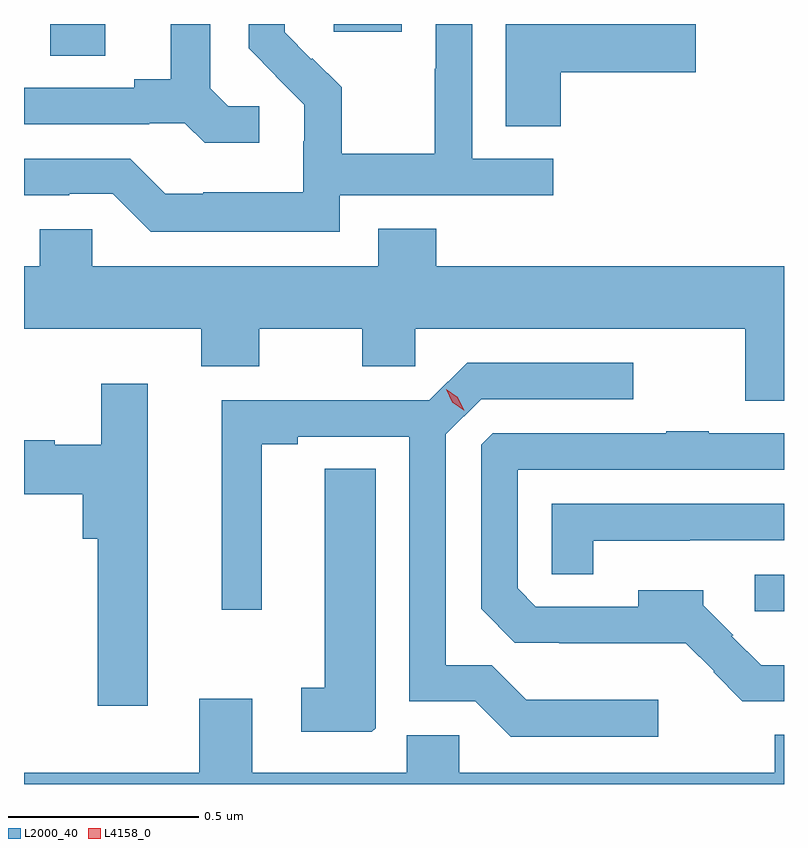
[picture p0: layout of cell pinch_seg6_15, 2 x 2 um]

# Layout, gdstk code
import gdstk
lib = gdstk.Library(unit=1e-6, precision=1e-09)
def R(c, l, rs):  # rectangles x0, y0, x1, y1
    for r in rs: c.add(gdstk.rectangle(r[:2], r[2:], *l))
def P(c, l, *ps):  # polygons
    for p in ps: c.add(gdstk.Polygon(p, *l))
L2000_40 = (2000, 40)
L4158_0 = (4158, 0)

pinch_seg6_15 = lib.new_cell('pinch_seg6_15')
R(pinch_seg6_15, L2000_40, [(916.146,993.213,916.223,993.309), (914.292,994.675,914.437,994.758), (915.038,994.737,915.217,994.758)])
P(pinch_seg6_15, L2000_40, [(915.635,994.631),(915.991,994.631),(915.991,994.758),(915.491,994.758),(915.491,994.489),(915.635,994.489)],
  [(914.842,994.542),(914.76,994.542),(914.713,994.589),(914.713,994.758),(914.609,994.758),(914.609,994.613),(914.513,994.613),(914.513,994.59),(914.223,994.59),(914.223,994.494),(914.552,994.494),(914.552,994.497),(914.646,994.497),(914.698,994.445),(914.842,994.445)],
  [(915.054,994.308),(915.616,994.308),(915.616,994.404),(915.402,994.404),(915.402,994.758),(915.306,994.758),(915.306,994.64),(915.304,994.64),(915.304,994.417),(915.059,994.417),(915.059,994.591),(914.982,994.668),(914.979,994.665),(914.909,994.736),(914.909,994.758),(914.814,994.758),(914.814,994.694),(914.887,994.621),(914.886,994.62),(914.96,994.546),(914.96,994.449),(914.958,994.449),(914.958,994.315),(914.695,994.315),(914.695,994.311),(914.595,994.311),(914.502,994.404),(914.223,994.404),(914.223,994.308),(914.342,994.308),(914.342,994.311),(914.457,994.311),(914.557,994.211),(915.054,994.211)],
  [(916.223,994.12),(915.308,994.12),(915.308,994.219),(915.155,994.219),(915.155,994.12),(914.403,994.12),(914.403,994.218),(914.265,994.218),(914.265,994.12),(914.223,994.12),(914.223,993.956),(914.69,993.956),(914.69,993.857),(914.842,993.857),(914.842,993.956),(915.113,993.956),(915.113,993.858),(915.252,993.858),(915.252,993.956),(916.121,993.956),(916.121,993.766),(916.223,993.766)],
  [(915.892,992.98),(915.545,992.98),(915.454,993.071),(915.333,993.071),(915.333,993.678),(915.426,993.771),(915.826,993.771),(915.826,993.867),(915.389,993.867),(915.29,993.768),(914.744,993.768),(914.744,993.216),(914.848,993.216),(914.848,993.652),(914.944,993.652),(914.944,993.672),(915.237,993.672),(915.237,992.976),(915.411,992.976),(915.504,992.883),(915.892,992.883)],
  [(914.548,993.811),(914.426,993.811),(914.426,993.651),(914.304,993.651),(914.304,993.663),(914.223,993.663),(914.223,993.521),(914.378,993.521),(914.378,993.404),(914.417,993.404),(914.417,992.964),(914.548,992.964)],
  [(916.223,993.071),(916.163,993.071),(916.086,993.147),(916.089,993.15),(916.01,993.229),(916.01,993.268),(915.839,993.268),(915.839,993.225),(915.57,993.225),(915.522,993.273),(915.522,993.585),(916.223,993.585),(916.223,993.681),(916.025,993.681),(916.025,993.686),(915.913,993.686),(915.913,993.681),(915.456,993.681),(915.426,993.651),(915.426,993.219),(915.515,993.13),(915.631,993.13),(915.631,993.128),(915.863,993.128),(915.863,993.129),(915.965,993.129),(916.039,993.055),(916.037,993.053),(916.113,992.976),(916.223,992.976)],
  [(915.148,992.905),(915.148,993.587),(915.014,993.587),(915.014,993.011),(914.952,993.011),(914.952,992.895),(915.138,992.895)],
  [(915.721,993.398),(915.975,993.398),(915.975,993.399),(916.223,993.399),(916.223,993.495),(915.612,993.495),(915.612,993.31),(915.721,993.31)],
  [(916.223,992.887),(916.198,992.887),(916.198,992.788),(915.369,992.788),(915.369,992.886),(915.23,992.886),(915.23,992.788),(914.824,992.788),(914.824,992.983),(914.684,992.983),(914.684,992.788),(914.223,992.788),(914.223,992.758),(916.223,992.758)])
P(pinch_seg6_15, L4158_0, [(915.38,993.742),(915.35,993.763),(915.334,993.797),(915.334,993.797),(915.334,993.797),(915.365,993.776),(915.381,993.742),(915.381,993.742)])

lib.write_gds('pinch_seg6_15.gds')
